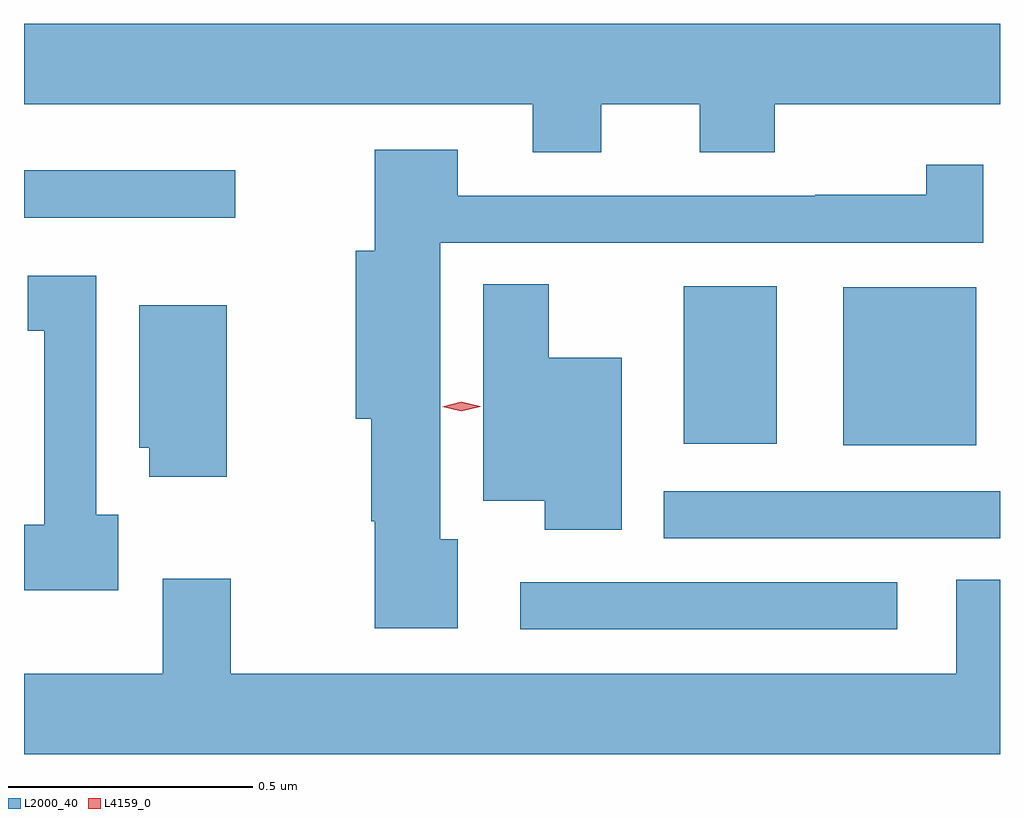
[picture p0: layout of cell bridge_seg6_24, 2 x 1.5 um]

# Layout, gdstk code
import gdstk
lib = gdstk.Library(unit=1e-6, precision=1e-09)
def R(c, l, rs):  # rectangles x0, y0, x1, y1
    for r in rs: c.add(gdstk.rectangle(r[:2], r[2:], *l))
def P(c, l, *ps):  # polygons
    for p in ps: c.add(gdstk.Polygon(p, *l))
L2000_40 = (2000, 40)
L4159_0 = (4159, 0)

bridge_seg6_24 = lib.new_cell('bridge_seg6_24')
R(bridge_seg6_24, L2000_40, [(987.06,968.904,987.832,969), (987.354,969.09,988.043,969.186), (987.722,969.281,987.994,969.604), (987.395,969.284,987.586,969.607), (986.043,969.747,986.476,969.844)])
P(bridge_seg6_24, L2000_40, [(987.226,969.98),(987.428,969.98),(987.428,969.881),(987.581,969.881),(987.581,969.98),(988.043,969.98),(988.043,970.144),(986.043,970.144),(986.043,969.98),(987.086,969.98),(987.086,969.881),(987.226,969.881)],
  [(986.932,969.088),(986.896,969.088),(986.896,969.696),(988.009,969.696),(988.009,969.856),(987.892,969.856),(987.892,969.794),(987.664,969.794),(987.664,969.792),(986.932,969.792),(986.932,969.886),(986.762,969.886),(986.762,969.679),(986.723,969.679),(986.723,969.335),(986.755,969.335),(986.755,969.125),(986.762,969.125),(986.762,968.906),(986.932,968.906)],
  [(986.236,969.138),(986.191,969.138),(986.191,969.628),(986.051,969.628),(986.051,969.515),(986.084,969.515),(986.084,969.118),(986.043,969.118),(986.043,968.984),(986.236,968.984)],
  [(987.268,969.46),(987.118,969.46),(987.118,969.611),(986.984,969.611),(986.984,969.167),(987.11,969.167),(987.11,969.108),(987.268,969.108)],
  [(986.458,969.568),(986.279,969.568),(986.279,969.276),(986.3,969.276),(986.3,969.216),(986.458,969.216)],
  [(988.043,969.005),(987.953,969.005),(987.953,968.812),(986.467,968.812),(986.467,969.007),(986.327,969.007),(986.327,968.812),(986.043,968.812),(986.043,968.648),(988.043,968.648)])
P(bridge_seg6_24, L4159_0, [(986.939,969.35),(986.9,969.36),(986.9,969.36),(986.9,969.36),(986.939,969.37),(986.978,969.361),(986.978,969.36),(986.978,969.36)])

lib.write_gds('bridge_seg6_24.gds')
